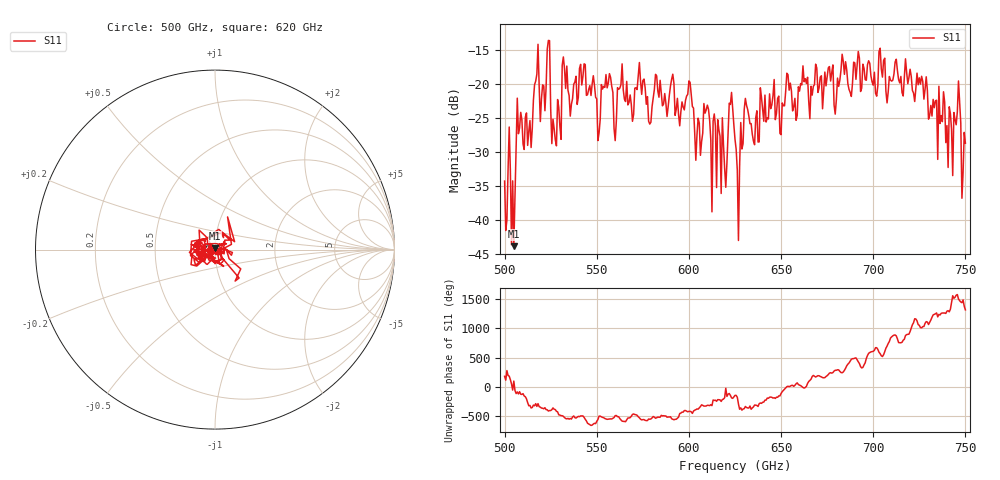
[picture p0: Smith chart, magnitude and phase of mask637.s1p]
!Created with skrf (http://scikit-rf.org).
# GHz S MA R 50.0
!freq magS11 angS11
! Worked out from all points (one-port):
!   401 points, 500 GHz to 750 GHz, reference 50 ohm
!   lowest |S11| = -43.9 dB at 505 GHz (marker M1), VSWR 1.01, Z = 49.9 + j0.636 ohm
!   |S11| at or under -10 dB: start of sweep to end of sweep
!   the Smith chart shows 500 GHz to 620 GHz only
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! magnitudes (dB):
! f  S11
! 500 GHz  -34.3
! 505 GHz  -43.9
! 507.5 GHz  -27.3
! 513.8 GHz  -25.4
! 517.5 GHz  -18.6
! 520.6 GHz  -20.2
! 523.8 GHz  -13.6
! 526.9 GHz  -26.6
! 531.2 GHz  -17.3
! 542.5 GHz  -18.9
! 550.6 GHz  -28.3
! 562.5 GHz  -20.6
! 593.8 GHz  -22.1
! 600 GHz  -19.6
! 605 GHz  -25.1
! 609.4 GHz  -23.8
! 618.8 GHz  -29.0
! 623.1 GHz  -21.3
! 625 GHz  -28.2
! 626.2 GHz  -32.7
! 631.2 GHz  -23.2
! 634.4 GHz  -27.4
! 656.2 GHz  -24.0
! 687.5 GHz  -21.3
! 718.8 GHz  -20.0
! 741.9 GHz  -24.4
! 746.2 GHz  -19.6
! 750 GHz  -28.7
